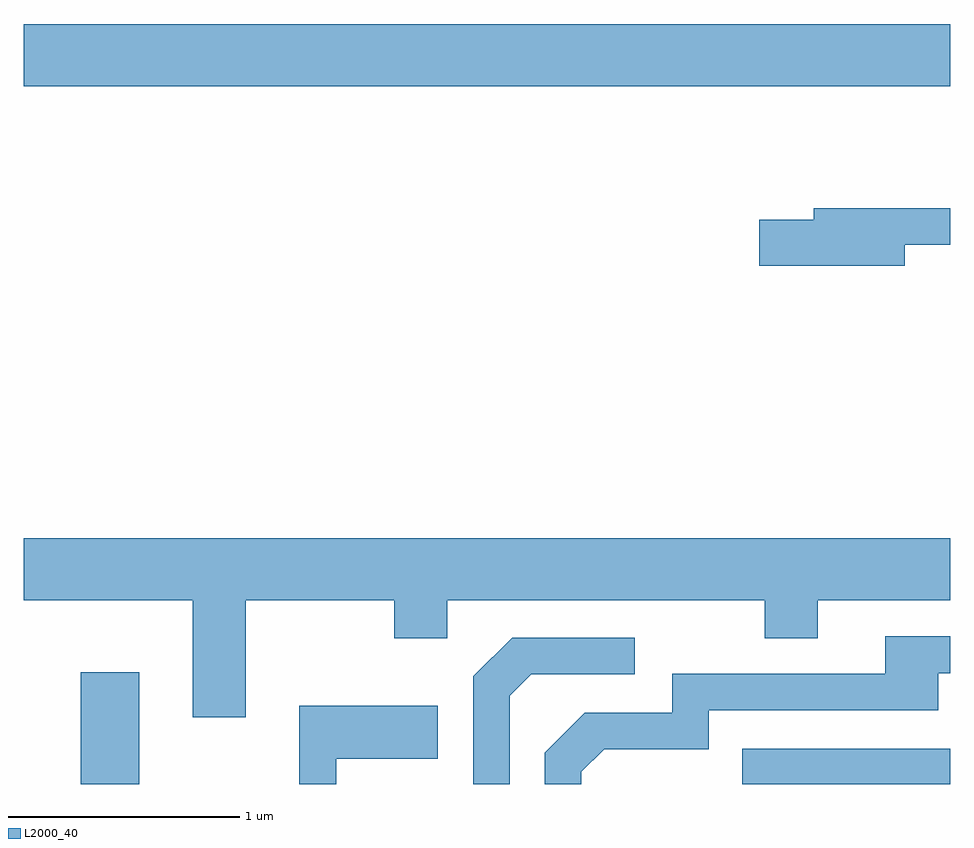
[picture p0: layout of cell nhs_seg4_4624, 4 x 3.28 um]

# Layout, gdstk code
import gdstk
lib = gdstk.Library(unit=1e-6, precision=1e-09)
def R(c, l, rs):  # rectangles x0, y0, x1, y1
    for r in rs: c.add(gdstk.rectangle(r[:2], r[2:], *l))
def P(c, l, *ps):  # polygons
    for p in ps: c.add(gdstk.Polygon(p, *l))
L2000_40 = (2000, 40)

nhs_seg4_4624 = lib.new_cell('nhs_seg4_4624')
R(nhs_seg4_4624, L2000_40, [(321.856,1253.982,322.109,1254.464), (324.713,1253.982,325.611,1254.134), (321.611,1256.996,325.611,1257.264)])
P(nhs_seg4_4624, L2000_40, [(325.414,1256.311),(325.611,1256.311),(325.611,1256.469),(325.021,1256.469),(325.021,1256.419),(324.786,1256.419),(324.786,1256.221),(325.414,1256.221)],
  [(322.569,1254.776),(323.211,1254.776),(323.211,1254.611),(323.439,1254.611),(323.439,1254.776),(324.811,1254.776),(324.811,1254.611),(325.039,1254.611),(325.039,1254.776),(325.611,1254.776),(325.611,1255.044),(321.611,1255.044),(321.611,1254.776),(322.341,1254.776),(322.341,1254.271),(322.569,1254.271)],
  [(324.019,1254.034),(324.117,1254.131),(324.569,1254.131),(324.569,1254.301),(325.559,1254.301),(325.559,1254.461),(325.611,1254.461),(325.611,1254.619),(325.331,1254.619),(325.331,1254.459),(324.411,1254.459),(324.411,1254.289),(324.034,1254.289),(323.861,1254.117),(323.861,1253.982),(324.019,1253.982)],
  [(323.709,1254.364),(323.802,1254.456),(324.248,1254.456),(324.248,1254.614),(323.719,1254.614),(323.551,1254.447),(323.551,1253.982),(323.709,1253.982)],
  [(322.959,1254.091),(323.399,1254.091),(323.399,1254.319),(322.801,1254.319),(322.801,1253.982),(322.959,1253.982)])

lib.write_gds('nhs_seg4_4624.gds')
